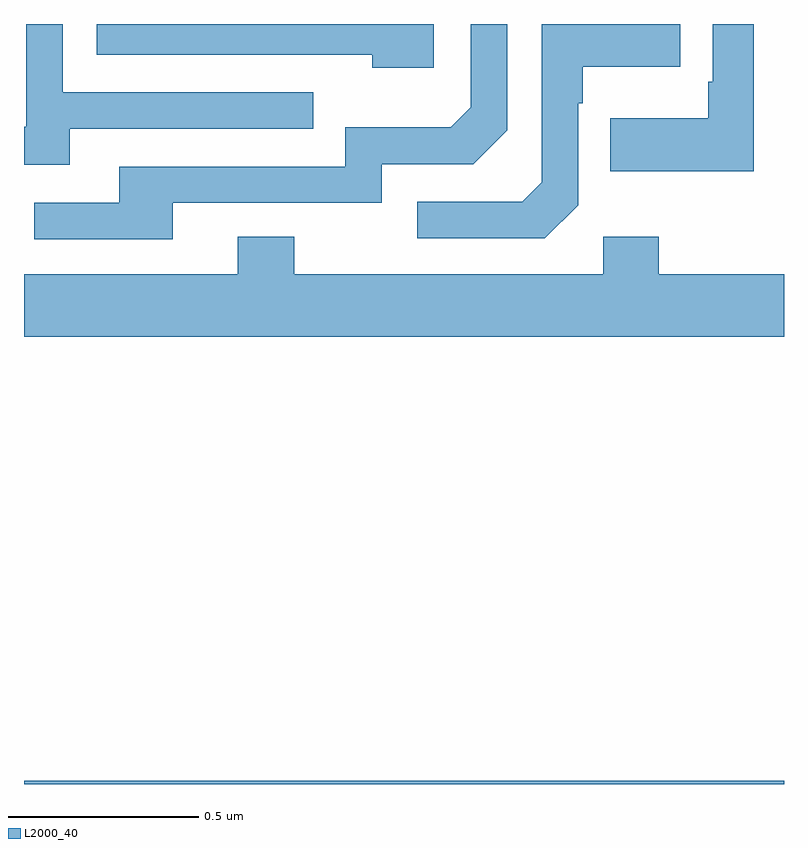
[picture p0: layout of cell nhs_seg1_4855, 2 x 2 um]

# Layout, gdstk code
import gdstk
lib = gdstk.Library(unit=1e-6, precision=1e-09)
def R(c, l, rs):  # rectangles x0, y0, x1, y1
    for r in rs: c.add(gdstk.rectangle(r[:2], r[2:], *l))
def P(c, l, *ps):  # polygons
    for p in ps: c.add(gdstk.Polygon(p, *l))
L2000_40 = (2000, 40)

nhs_seg1_4855 = lib.new_cell('nhs_seg1_4855')
R(nhs_seg1_4855, L2000_40, [(171,573.199,173,573.208)])
P(nhs_seg1_4855, L2000_40, [(172.921,575.199),(172.812,575.199),(172.812,575.047),(172.8,575.047),(172.8,574.951),(172.543,574.951),(172.543,574.811),(172.921,574.811)],
  [(172.458,574.722),(172.458,574.991),(172.471,574.991),(172.471,575.087),(172.727,575.087),(172.727,575.199),(172.362,575.199),(172.362,574.782),(172.311,574.731),(172.035,574.731),(172.035,574.635),(172.371,574.635)],
  [(171.121,574.923),(171.761,574.923),(171.761,575.019),(171.102,575.019),(171.102,575.199),(171.006,575.199),(171.006,574.929),(171,574.929),(171,574.829),(171.121,574.829)],
  [(172.078,575.199),(171.192,575.199),(171.192,575.118),(171.917,575.118),(171.917,575.084),(172.078,575.084)],
  [(171.391,574.728),(171.942,574.728),(171.942,574.83),(172.182,574.83),(172.272,574.92),(172.272,575.199),(172.176,575.199),(172.176,574.98),(172.123,574.927),(171.846,574.927),(171.846,574.824),(171.251,574.824),(171.251,574.728),(171.027,574.728),(171.027,574.632),(171.391,574.632)],
  [(173,574.54),(172.671,574.54),(172.671,574.639),(172.524,574.639),(172.524,574.54),(171.711,574.54),(171.711,574.639),(171.563,574.639),(171.563,574.54),(171,574.54),(171,574.376),(173,574.376)])

lib.write_gds('nhs_seg1_4855.gds')
